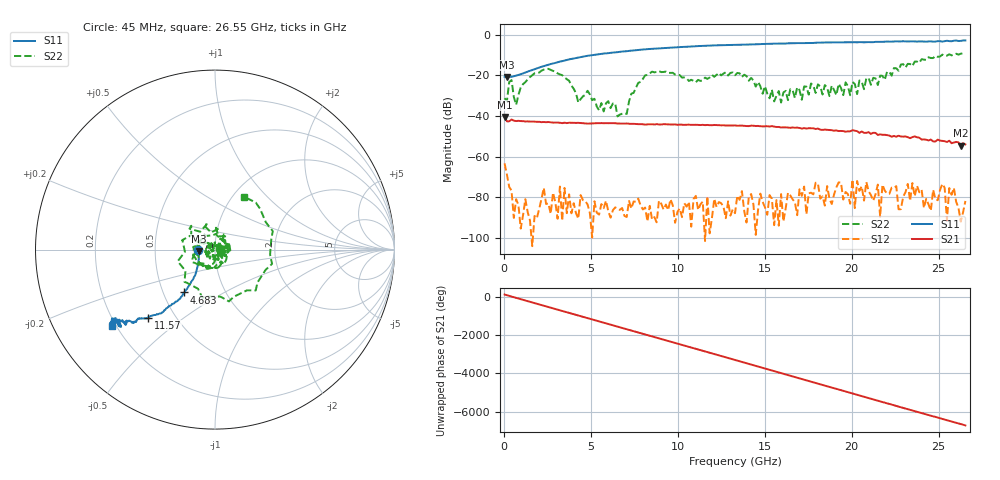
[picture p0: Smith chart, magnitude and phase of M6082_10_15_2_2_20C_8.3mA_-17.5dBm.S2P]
!  2-Port S-parameters saved by WinCal
! VAR MeasName=S-Parameters (CALIBRATED_DATA) read from VNA (C)
! VAR MeasDate=10/16/2015 3:14:30 PM
! VAR NAME=M6082_10_15_2_2_20C_8.3mA_-17.5dBm
! VAR FILENAME=M6082_10_15_2_2_20C_8.3mA_-17.5dBm.S2P
! VAR DATE=10/16/2015 3:14:30 PM
! VAR PHYS_PORTS=2,1
! VAR ObjTypeName=DATASET
! VAR IndexType=Frequency
# Hz S DB R 50
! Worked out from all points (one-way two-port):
!   201 points, 45 MHz to 26.55 GHz, reference 50 ohm
!   highest |S21| = -40.53 dB at 45 MHz (marker M1); lowest = -54.5 dB at 26.28 GHz (marker M2)
!   lowest |S11| = -20.9 dB at 177.5 MHz (marker M3), VSWR 1.20, Z = 41.8 - j0.647 ohm
!   |S11| at or under -10 dB: start of sweep to 5.159 GHz
!   |S22| runs from -40.2 to -9.2 dB; largest |S21 - S12| = 0.0098
!   S11 on the Smith chart (normalised r, x): 45 MHz: 0.83, -0.00; 4.683 GHz: 0.64, -0.34; 11.57 GHz: 0.35, -0.37; 26.55 GHz: 0.18, -0.32
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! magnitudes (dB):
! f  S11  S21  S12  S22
! 45 MHz  -20.7  -40.5  -63.3  -31.3
! 177.5 MHz  -20.9  -42.7  -68.8  -32.7
! 442.5 MHz  -20.7  -41.7  -76.6  -22.4
! 575 MHz  -20.5  -42.3  -90.1  -30.6
! 2.562 GHz  -14.8  -43.0  -83.0  -16.8
! 4.55 GHz  -10.9  -43.6  -81.4  -30.4
! 4.683 GHz  -10.7  -43.7  -81.8  -29.7
! 7.067 GHz  -8.2  -43.7  -89.6  -39.0
! 7.73 GHz  -7.6  -44.0  -80.6  -23.7
! 8.922 GHz  -6.8  -44.2  -81.6  -18.0
! 11.57 GHz  -5.5  -44.5  -101.5  -21.2
! 13.29 GHz  -5.1  -44.6  -87.8  -20.0
! 15.95 GHz  -4.4  -45.6  -78.4  -33.4
! 17.8 GHz  -4.1  -46.1  -78.5  -25.1
! 19.39 GHz  -3.8  -47.4  -72.7  -26.2
! 19.92 GHz  -3.8  -47.6  -83.1  -29.8
! 20.05 GHz  -3.7  -47.0  -71.2  -23.3
! 20.18 GHz  -3.8  -47.2  -85.3  -24.3
! 20.32 GHz  -3.8  -47.5  -71.9  -29.3
! 22.17 GHz  -3.5  -49.6  -78.2  -18.3
! 26.28 GHz  -3.1  -54.5  -91.9  -9.4
! 26.55 GHz  -2.9  -54.0  -81.8  -9.5
